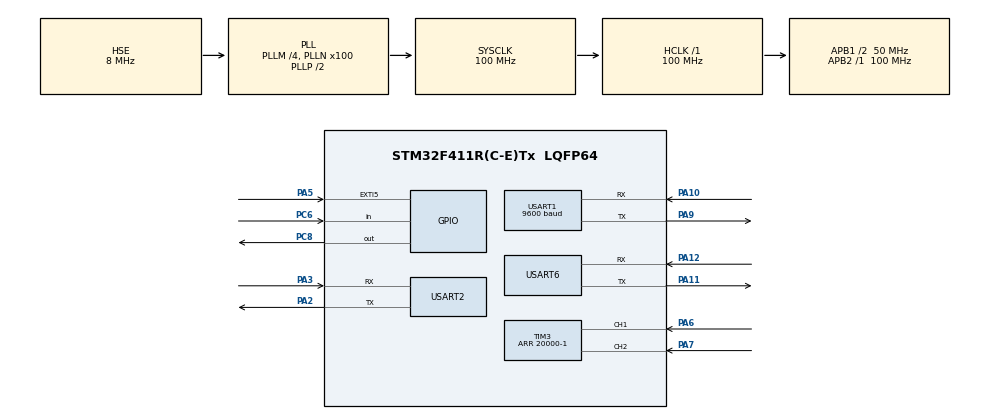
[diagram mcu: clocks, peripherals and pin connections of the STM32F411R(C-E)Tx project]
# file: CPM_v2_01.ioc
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Mcu.Family=STM32F4
Mcu.Name=STM32F411R(C-E)Tx
Mcu.Package=LQFP64
NVIC.EXTI9_5_IRQn=true\:0\:0\:false\:false\:true\:true\:true\:true
NVIC.PriorityGroup=NVIC_PRIORITYGROUP_4
NVIC.TIM3_IRQn=true\:0\:0\:false\:false\:true\:true\:true\:true
NVIC.USART1_IRQn=true\:0\:0\:false\:false\:true\:true\:true\:true
NVIC.USART2_IRQn=true\:0\:0\:false\:false\:true\:true\:true\:true
NVIC.USART6_IRQn=true\:0\:0\:false\:false\:true\:true\:true\:true
PA10.Mode=Asynchronous
PA10.Signal=USART1_RX
PA11.Mode=Asynchronous
PA11.Signal=USART6_TX
PA12.Mode=Asynchronous
PA12.Signal=USART6_RX
PA13.Mode=Serial_Wire
PA13.Signal=SYS_JTMS-SWDIO
PA14.Mode=Serial_Wire
PA14.Signal=SYS_JTCK-SWCLK
PA2.Mode=Asynchronous
PA2.Signal=USART2_TX
PA3.Mode=Asynchronous
PA3.Signal=USART2_RX
PA5.Signal=GPXTI5
PA6.Signal=S_TIM3_CH1
PA7.Signal=S_TIM3_CH2
PA9.Mode=Asynchronous
PA9.Signal=USART1_TX
PC6.Signal=GPIO_Input
PC8.Signal=GPIO_Output
PH0\ -\ OSC_IN.Mode=HSE-External-Oscillator
PH0\ -\ OSC_IN.Signal=RCC_OSC_IN
PH1\ -\ OSC_OUT.Mode=HSE-External-Oscillator
PH1\ -\ OSC_OUT.Signal=RCC_OSC_OUT
ProjectManager.HeapSize=0x200
ProjectManager.StackSize=0x400
ProjectManager.TargetToolchain=STM32CubeIDE
RCC.48MHZClocksFreq_Value=50000000
RCC.AHBFreq_Value=100000000
RCC.APB1CLKDivider=RCC_HCLK_DIV2
RCC.APB1Freq_Value=50000000
RCC.APB1TimFreq_Value=100000000
RCC.APB2Freq_Value=100000000
RCC.APB2TimFreq_Value=100000000
RCC.CortexFreq_Value=100000000
RCC.HCLKFreq_Value=100000000
RCC.HSE_VALUE=8000000
RCC.HSI_VALUE=16000000
RCC.LSE_VALUE=32768
RCC.PLLM=4
RCC.PLLN=100
RCC.PLLSourceVirtual=RCC_PLLSOURCE_HSE
RCC.SYSCLKFreq_VALUE=100000000
RCC.SYSCLKSource=RCC_SYSCLKSOURCE_PLLCLK
RCC.VCOOutputFreq_Value=200000000
SH.S_TIM3_CH1.0=TIM3_CH1,Encoder_Interface
SH.S_TIM3_CH2.0=TIM3_CH2,Encoder_Interface
TIM2.Period=999
TIM2.Prescaler=99
TIM3.EncoderMode=TIM_ENCODERMODE_TI12
TIM3.IC1Filter=10
TIM3.Period=20000-1
USART1.BaudRate=9600
USART1.VirtualMode=VM_ASYNC
USART2.VirtualMode=VM_ASYNC
USART6.VirtualMode=VM_ASYNC
VP_TIM2_VS_ClockSourceINT.Mode=Internal
board=custom

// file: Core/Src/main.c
/* USER CODE BEGIN Header */
/**
 ******************************************************************************
 * @file           : main.c
 * @brief          : Main program body
 ******************************************************************************
 * @attention
 *
 * Copyright (c) 2025 STMicroelectronics.
 * All rights reserved.
 *
 * This software is licensed under terms that can be found in the LICENSE file
 * in the root directory of this software component.
 * If no LICENSE file comes with this software, it is provided AS-IS.
 *
 ******************************************************************************
 */
/* USER CODE END Header */
#include "main.h"
#include "tim.h"
#include "usart.h"
#include "gpio.h"

/* USER CODE BEGIN Includes */
#include <stdio.h>
#include <string.h>
#include <stdbool.h>
#include <stdlib.h>  // abs() 함수를 위해 추가
#include "encoder.h"
#include "servo.h"
#include "HX711.h"
/* USER CODE END Includes */

/* USER CODE BEGIN PTD */
// 프로토콜 데이터 구조체 정의
typedef struct {
  uint8_t startByte1;
  uint8_t startByte2;
  uint8_t dataLength;
  uint8_t command;
  uint8_t objNum1;
  uint8_t objNum2;
  uint8_t dataByte;
  uint8_t data1;
  uint8_t data2;
} ProtocolData_t;

typedef enum {
  CPM_STATE_IDLE = 0,        // 대기 상태
  CPM_STATE_RUNNING,         // 동작 중
  CPM_STATE_PAUSED,         // 일시정지
  CPM_STATE_STOP,           //정지
  CPM_STATE_EMERGENCY_STOP   // 비상정지
} CPM_State_t;

// CPM 동작 상태 정의
typedef enum {
  CPM_IDLE = 0,
  CPM_ACTIVE,
  CPM_PASSIVE,
  CPM_FORCE_MEASURE  // 힘 측정 모드 추가
} CPM_Mode_t;

// 액티브 모드 파라미터
typedef struct {
  uint8_t speed;          // 동작 속도
  uint8_t angle;          // 동작 각도
  uint8_t repeat;         // 반복 횟수
  uint8_t delay;          // 딜레이
} Active_Params_t;

// 패시브 모드 서브 모드
typedef enum {
  PASSIVE_ASSIST = 0,   // 서포트 모드 (도와주는 모드)
  PASSIVE_RESIST,
  PASSIVE_PROPORTIONAL// 저항 모드
} PassiveMode_t;

// 패시브 모드 파라미터
typedef struct {
  PassiveMode_t mode;   // PASSIVE_ASSIST(서포트) 또는 PASSIVE_RESIST(저항)
  uint8_t torque_level; // 토크 레벨 (1-10)
} Passive_Params_t;

// CPM 메인 구조체
typedef struct {
  CPM_State_t state;    // CPM 동작 상태
  CPM_Mode_t mode;      // 현재 동작 모드 (액티브/패시브)
  Active_Params_t active;    // 액티브 모드 파라미터
  Passive_Params_t passive;  // 패시브 모드 파라미터
} CPM_Params_t;
/* USER CODE END PTD */

/* USER CODE BEGIN PD */
#define START_BYTE1     0x5A
#define START_BYTE2     0xA5
#define DATA_LENGTH     9
#define MAX_TORQUE_LEVEL    100
/* USER CODE END PD */

/* USER CODE BEGIN PV */
volatile uint8_t ir_sensor_flag =0;

static volatile bool is_motor_enabled = true;
char uart_buf[100];  // UART 출력용 버퍼

uint8_t rxData;
uint8_t rxBuffer[DATA_LENGTH];
uint8_t dataIndex = 0;
ProtocolData_t protocolData;

static int repeat_count = 0;
static bool cpm_initialized = false;
static bool moving_forward = true;
static bool params_updated = false;   // 파라미터가 업데이트되었는지 표시하는 플래그
static bool stop = false;
static uint32_t timer_counter = 0;

// CPM 파라미터 초기화
static CPM_Params_t cpm_params = {
  .state = CPM_STATE_RUNNING,
  .mode = CPM_ACTIVE,
  .active = {
    .speed = 1,       // 속도 초기값 (1~10)
    .angle = 1,      // 각도 초기값 (10~120)
    .repeat = 10,     // 반복 횟수 초기값 (1~100)
    .delay = 1
  },
  .passive = {
    .mode = PASSIVE_ASSIST,
    .torque_level = 10
  }
};

float calibration_factor = 67000.0f;   // HX711.c와 동일한 값으로 설정
float known_weight = 4000.0f;             // 4000g(그램 단위)
/* USER CODE END PV */

void SystemClock_Config(void);
/* USER CODE BEGIN PFP */
int __io_putchar(int ch)
{
  HAL_UART_Transmit(&huart6, (uint8_t *)&ch, 1, HAL_MAX_DELAY);
  return ch;
}

/* USER CODE END PFP */

int main(void)
{

  /* MCU Configuration--------------------------------------------------------*/

  /* Reset of all peripherals, Initializes the Flash interface and the Systick. */
  HAL_Init();

  /* Configure the system clock */
  SystemClock_Config();

  /* Initialize all configured peripherals */
  MX_GPIO_Init();
  MX_USART2_UART_Init();
  MX_TIM3_Init();
  MX_USART1_UART_Init();
  MX_USART6_UART_Init();
  MX_TIM2_Init();
  /* USER CODE BEGIN 2 */
  // hmi
  HAL_UART_Receive_IT(&huart2, &rxData, 1);

  // encoder
  Encoder_SetTimHandle(&htim3);
  Encoder_Start();
  HAL_Delay(500);
  // 로드셀
  HX711_Init();
  HAL_Delay(500);  // 안정화 대기

  //motor init
  RS485_MotorInit(&huart1);

  /* USER CODE END 2 */

  /* Infinite loop */
  /* USER CODE BEGIN WHILE */
  while (1)
  {
    // 타이머 카운터 업데이트
    timer_counter = HAL_GetTick();

//-------------------------------------------------------------------------//
    switch (cpm_params.mode)
    {
      case CPM_IDLE:
        // IDLE 상태에서는 아무 동작도 하지 않음S
        break;
//-------------------------------------------------------------------------//
        //엔코더 값 범위 0 ~ 55 사용 소수점까지
      case CPM_ACTIVE:
        if (cpm_params.state == CPM_STATE_RUNNING)
        {
          char command[10];
          float current_angle = Encoder_GetAngle();
          uint32_t delay = cpm_params.active.delay * 1000;

          // 엔코더 각도 범위 처리 (0~360도)
          if (current_angle > 270 && current_angle <= 360)
            {current_angle = 0.0f;}
          else if (current_angle > 150.0f && current_angle < 270)
            {current_angle = cpm_params.active.angle;}

          // HMI로부터 파라미터가 업데이트된 경우 새 동작을 시작
            if (params_updated) {
              // 모터 정지 후 새 파라미터로 재시작
              RS485_SendCommand("ST");    // 모터 정지
              HAL_Delay(200);

              // 초기화 플래그 리셋하여 새 파라미터로 초기화
              cpm_initialized = false;
              params_updated = false;  // 업데이트 플래그 초기화
            }

          // 초기 설정이 안 된 경우 초기화
          if (!cpm_initialized) {
            // 모터 초기화
            RS485_SendCommand("ME");    // 모터 활성화
            HAL_Delay(300);             // 모터 활성화 대기
            // 기본 파라미터 설정
            RS485_SendCommand("JA100");  // 가속도
            RS485_SendCommand("JL100");  // 감속도
            RS485_SendCommand("JS0.01");   // 저크
            RS485_SendCommand("CJ");    // 조그 모드 설정 적용
            // 반복 카운터 초기화
            repeat_count = cpm_params.active.repeat;
            cpm_initialized = true;

            // 초기 방향 설정 (전진)
            sprintf(command, "CS%d", cpm_params.active.speed);
            RS485_SendCommand(command);
            moving_forward = true;
          }

          // 방향 및 제한 확인
          if (moving_forward && (current_angle >= cpm_params.active.angle)) {
            // 전진 한계 도달, 방향 전환
            RS485_SendCommand("ST");
            HAL_Delay(delay);  // 정수 값 사용
            RS485_SendCommand("CJ");    // 조그 모드 설정 적용
            sprintf(command, "CS-%d", cpm_params.active.speed);
            RS485_SendCommand(command);
            moving_forward = false;
          }
          else if (!moving_forward && current_angle <= 0.0f) {
            // 시작 위치에 도달, 한 사이클 완료
            repeat_count--;

            if (repeat_count <= 0) {
              // 모든 반복 완료
              RS485_SendCommand("ST");  // 정지
              //cpm_params.state = CPM_STATE_IDLE;

              cpm_initialized = false;
            } else {
              // 다음 사이클 시작
              RS485_SendCommand("ST");
              HAL_Delay(delay);
              RS485_SendCommand("CJ");    // 조그 모드 설정 적용
              sprintf(command, "CS%d", cpm_params.active.speed);
              RS485_SendCommand(command);
              moving_forward = true;
            }
          }

          // 루프 간 딜레이
          HAL_Delay(20);
        }
        else if(cpm_params.state == CPM_STATE_PAUSED)
        {
          RS485_SendCommand("ST");
        }
        else if(cpm_params.state == CPM_STATE_STOP)
        {
          RS485_SendCommand("ST");
          RS485_SendCommand("MD");
        }
        else if(cpm_params.state == CPM_STATE_EMERGENCY_STOP)
        {
          RS485_SendCommand("ST");
          RS485_SendCommand("MD");
        }
        else if(cpm_params.state == CPM_STATE_IDLE)
        {
          RS485_SendCommand("ST");
        }
        break;
//-----------------------------------------------------------------------------------//
      case CPM_PASSIVE:
        if (cpm_params.state == CPM_STATE_RUNNING)
        {
          static uint32_t passive_loadcell_tick = 0;
          static bool cs_command_sent_CW = false;    // CS 명령 전송 상태 추적 플래그
          static bool cs_command_sent_CCW = false;   // 반대 방향용 플래그
          static bool st_command_sent = false;       // ST 명령 전송 상태 추적 플래그 추가

          if(timer_counter - passive_loadcell_tick >= 50)
          {
            float weight = HX711_GetGrams();
            printf("%d\r\n",(int)weight);

            // 초기화 체크
            if (!cpm_initialized)
            {
              // 모터 초기화 코드
//              RS485_SendCommand("ME");
//              RS485_SendCommand("JA100");
//              RS485_SendCommand("JD100");
//              RS485_SendCommand("JS5");
//              RS485_SendCommand("CJ");

              RS485_SendCommand("ME");

              cpm_initialized = true;
            }

            // 데드존 체크 (-500g ~ +500g 무시)
            if (abs(weight) > 1000)
            {
              // 데드존을 벗어났으므로 ST 명령 플래그 초기화
              st_command_sent = false;

              uint8_t limited_torque = (cpm_params.passive.torque_level > MAX_TORQUE_LEVEL) ?
                                      MAX_TORQUE_LEVEL : cpm_params.passive.torque_level;
              char torque_cmd[10];

              switch(cpm_params.passive.mode)
              {
              case PASSIVE_ASSIST:  // 서포트 모드
                if (weight > 1000)  // 미는 힘
                {
                  if (!cs_command_sent_CW)  // 아직 명령이 전송되지 않았을 때만 실행
                  {
                      RS485_SendCommand("CJ");
                      sprintf(torque_cmd, "CS-%d", limited_torque);
//                      sprintf(torque_cmd, "GC-%d", limited_torque);
                      RS485_SendCommand(torque_cmd);  // 양의 토크로 도와줌
                      cs_command_sent_CW = true;      // 명령 전송 플래그 설정
                      cs_command_sent_CCW = false;    // 반대 방향 초기화
                  }
                }
                else if (weight < -1000)  // 당기는 힘
                {
                  if (!cs_command_sent_CCW)  // 아직 명령이 전송되지 않았을 때만 실행
                  {
                     RS485_SendCommand("CJ");
                      sprintf(torque_cmd, "CS%d", limited_torque);
//                      sprintf(torque_cmd, "GC%d", limited_torque);
                      RS485_SendCommand(torque_cmd);  // 음의 토크로 도와줌
                      cs_command_sent_CCW = true;     // 명령 전송 플래그 설정
                      cs_command_sent_CW = false;     // 반대 방향 초기화
                  }
                }
                break;
              }
            }

            else  // 데드존 내의 힘 (500 이하)
            {
              // ST 명령이 아직 전송되지 않았을 때만 실행
              if (!st_command_sent)
              {
                RS485_SendCommand("ST");  // 토크 0 (한 번만 실행)
                RS485_SendCommand("ST");  // 토크 0 (한 번만 실행)
//                RS485_SendCommand("GC0");
                st_command_sent = true;   // ST 명령 전송 플래그 설정

                // CS 명령 플래그 초기화 - 다시 500 이상이 되면 명령을 보낼 수 있게 함
                cs_command_sent_CW = false;
                cs_command_sent_CCW = false;
              }
            }

            passive_loadcell_tick = timer_counter;
          }

        }

        else if(cpm_params.state == CPM_STATE_PAUSED)
        {
          RS485_SendCommand("ST");

        }
        else if(cpm_params.state == CPM_STATE_STOP)
        {
          RS485_SendCommand("ST");

        }
        else if(cpm_params.state == CPM_STATE_EMERGENCY_STOP)
        {
          RS485_SendCommand("ST");
          RS485_SendCommand("MD");

        }
        break;
 //-------------------------------------------------------------------------//
      case CPM_FORCE_MEASURE:
        // 힘 측정 모드 구현
        break;
    }

    /* USER CODE END WHILE */

  }
}

void SystemClock_Config(void)
{
  RCC_OscInitTypeDef RCC_OscInitStruct = {0};
  RCC_ClkInitTypeDef RCC_ClkInitStruct = {0};

  /** Configure the main internal regulator output voltage
  */
  __HAL_RCC_PWR_CLK_ENABLE();
  __HAL_PWR_VOLTAGESCALING_CONFIG(PWR_REGULATOR_VOLTAGE_SCALE1);

  /** Initializes the RCC Oscillators according to the specified parameters
  * in the RCC_OscInitTypeDef structure.
  */
  RCC_OscInitStruct.OscillatorType = RCC_OSCILLATORTYPE_HSE;
  RCC_OscInitStruct.HSEState = RCC_HSE_ON;
  RCC_OscInitStruct.PLL.PLLState = RCC_PLL_ON;
  RCC_OscInitStruct.PLL.PLLSource = RCC_PLLSOURCE_HSE;
  RCC_OscInitStruct.PLL.PLLM = 4;
  RCC_OscInitStruct.PLL.PLLN = 100;
  RCC_OscInitStruct.PLL.PLLP = RCC_PLLP_DIV2;
  RCC_OscInitStruct.PLL.PLLQ = 4;
  if (HAL_RCC_OscConfig(&RCC_OscInitStruct) != HAL_OK)
  {
    Error_Handler();
  }

  /** Initializes the CPU, AHB and APB buses clocks
  */
  RCC_ClkInitStruct.ClockType = RCC_CLOCKTYPE_HCLK|RCC_CLOCKTYPE_SYSCLK
                              |RCC_CLOCKTYPE_PCLK1|RCC_CLOCKTYPE_PCLK2;
  RCC_ClkInitStruct.SYSCLKSource = RCC_SYSCLKSOURCE_PLLCLK;
  RCC_ClkInitStruct.AHBCLKDivider = RCC_SYSCLK_DIV1;
  RCC_ClkInitStruct.APB1CLKDivider = RCC_HCLK_DIV2;
  RCC_ClkInitStruct.APB2CLKDivider = RCC_HCLK_DIV1;

  if (HAL_RCC_ClockConfig(&RCC_ClkInitStruct, FLASH_LATENCY_3) != HAL_OK)
  {
    Error_Handler();
  }
}

/* USER CODE BEGIN 4 */
void HAL_UART_RxCpltCallback(UART_HandleTypeDef *huart)
{
  //dwin hmi lcd
  if (huart->Instance == USART2)
  {
    switch(dataIndex)
    {
      case 0:  // 첫 바이트
        if(rxData == START_BYTE1)
        {
          rxBuffer[dataIndex++] = rxData;
        }
        break;

      case 1:  // 두번째 바이트
        if(rxData == START_BYTE2)
        {
          rxBuffer[dataIndex++] = rxData;
        }
        else
        {
          dataIndex = 0;
        }
        break;

      default:  // 나머지 데이터
        rxBuffer[dataIndex++] = rxData;
        if(dataIndex >= DATA_LENGTH)
        {
          protocolData.startByte1 = rxBuffer[0];
          protocolData.startByte2 = rxBuffer[1];
          protocolData.dataLength = rxBuffer[2];
          protocolData.command = rxBuffer[3];
          protocolData.objNum1 = rxBuffer[4];
          protocolData.objNum2 = rxBuffer[5];
          protocolData.dataByte = rxBuffer[6];
          protocolData.data1 = rxBuffer[7];
          protocolData.data2 = rxBuffer[8];

          // objNum1과 objNum2를 조합하여 파라미터 식별
          uint16_t param_id = (protocolData.objNum1 << 8) | protocolData.objNum2;

          // 파라미터 업데이트
          switch(param_id)
          {
            case 0x1000:  // 속도 (1-10)
              cpm_params.active.speed = protocolData.data2;
              // 실행 중에는 값만 저장하고 업데이트 플래그는 설정하지 않음
              break;

            case 0x1001:  // 각도 (1-10)
              cpm_params.active.angle = protocolData.data2 * 5.5;
              // 실행 중에는 값만 저장하고 업데이트 플래그는 설정하지 않음
              break;

            case 0x1002:  // 반복 (10-100)
              cpm_params.active.repeat = protocolData.data2;
              // 실행 중에는 값만 저장하고 업데이트 플래그는 설정하지 않음
              break;

            case 0x1003:  // 딜레이 (1-10)
              cpm_params.active.delay = protocolData.data2;
              // 실행 중에는 값만 저장하고 업데이트 플래그는 설정하지 않음
              break;

            case 0x1100:
              // 패시브 모드 토크 레벨 설정
              cpm_params.passive.torque_level = 10 + ((protocolData.data2 - 1) * 2);
              break;

            case 0x3000:
              // 상호작용 버튼
              switch(protocolData.data2)
              {
                case 0x01:  // 시작
                  cpm_params.state = CPM_STATE_RUNNING;
                  params_updated = true;  // 시작 버튼 누를 때만 파라미터 적용
                  break;

                case 0x02:  // 일시정지
                  cpm_params.state = CPM_STATE_PAUSED;
                  break;

                case 0x03:  // 정지
                  cpm_params.state = CPM_STATE_STOP;
                  stop = false;
                  break;

                case 0x04:  // 0점(초기화)
                  cpm_params.state = CPM_STATE_IDLE;
                  break;

                case 0x05:  // 비상정지
                  cpm_params.state = CPM_STATE_EMERGENCY_STOP;
                  break;
              }
              break;

            case 0x3100:
              // 상호작용 버튼
              switch(protocolData.data2)
              {
                case 0x01:  // 시작
                  cpm_params.state = CPM_STATE_RUNNING;
                  params_updated = true;  // 시작 버튼 누를 때만 파라미터 적용
                  break;

                case 0x02:  // 일시정지
                  cpm_params.state = CPM_STATE_PAUSED;
                  break;

                case 0x03:  // 정지
                  cpm_params.state = CPM_STATE_STOP;

                  break;

                case 0x04:  // 0점(초기화)
                  cpm_params.state = CPM_STATE_IDLE;
                  break;

                case 0x05:  // 비상정지
                  cpm_params.state = CPM_STATE_EMERGENCY_STOP;
                  break;

                case 0x06:  // 서포트모드
                  cpm_params.mode = CPM_PASSIVE;
                  cpm_params.passive.mode = PASSIVE_ASSIST;
                  break;

                case 0x07:  // 저항모드 not used
                  cpm_params.mode = CPM_PASSIVE;
                  cpm_params.passive.mode = PASSIVE_RESIST;
                  break;

                case 0x08:  // 비례모드
                  cpm_params.mode = CPM_PASSIVE;
                  cpm_params.passive.mode = PASSIVE_PROPORTIONAL;
                  break;
              }
              break;

            case 0x4000:  // 모드 선택
              switch(protocolData.data2)
              {
                case 0x01:  // 액티브 모드
                  cpm_params.mode = CPM_ACTIVE;
                  cpm_initialized = false;
                  break;

                case 0x02:  // 패시브 모드
                  cpm_params.mode = CPM_PASSIVE;
                  cpm_initialized = false;
                  break;

                case 0x03:  // 힘측정 모드
                  cpm_params.mode = CPM_FORCE_MEASURE;
                  break;
              }
              break;
          }

          dataIndex = 0;
        }
        break;
    }
    HAL_UART_Receive_IT(huart, &rxData, 1);
  }
}

/* USER CODE END 4 */

void Error_Handler(void)
{
  __disable_irq();
  while (1)
  {
  }
}
